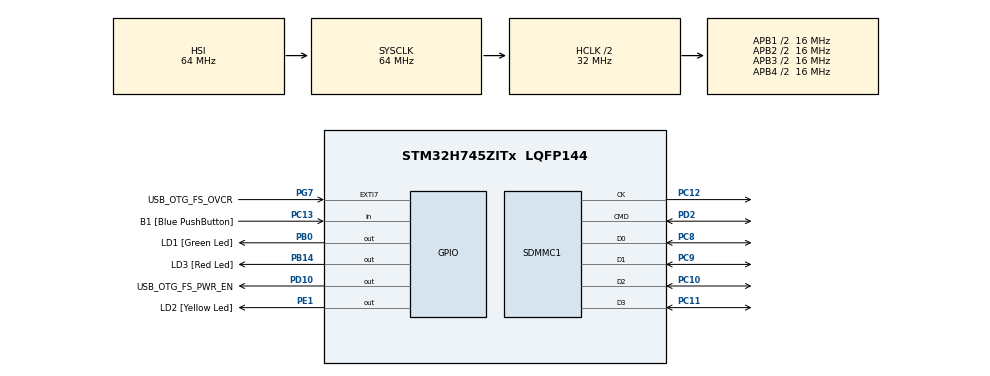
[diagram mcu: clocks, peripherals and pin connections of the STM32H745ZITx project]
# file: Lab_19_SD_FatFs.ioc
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CortexM4.IPs=FATFS_M4\:I,FREERTOS_M4\:I,IWDG2\:I,RCC,WWDG2\:I,DMA,BDMA,MDMA,NVIC2\:I,USART3,ETH,DEBUG,PDM2PCM_M4\:I,PWR,RESMGR_UTILITY,SYS_M4\:I,USB_DEVICE_M4\:I,USB_HOST_M4\:I,CORTEX_M4\:I,GPIO,OPENAMP_M4\:I,VREFBUF
CortexM7.IPs=FATFS_M7\:I,FREERTOS_M7\:I,IWDG1\:I,RCC\:I,WWDG1\:I,DMA\:I,BDMA\:I,MDMA\:I,NVIC1\:I,SYS\:I,USART3\:I,USB_OTG_FS\:I,ETH\:I,CORTEX_M7\:I,DEBUG\:I,PDM2PCM_M7\:I,PWR\:I,RESMGR_UTILITY\:I,USB_DEVICE_M7\:I,USB_HOST_M7\:I,GPIO\:I,OPENAMP_M7\:I,VREFBUF\:I,SDMMC1\:I
CortexM7.Pins=PB0,PB14,PE1
Mcu.Family=STM32H7
Mcu.Name=STM32H745ZITx
Mcu.Package=LQFP144
NVIC1.PriorityGroup=NVIC_PRIORITYGROUP_4
NVIC2.PriorityGroup=NVIC_PRIORITYGROUP_4
PA1.PinAttribute=CortexM7
PA1.Signal=ETH_REF_CLK
PA11.PinAttribute=CortexM7
PA11.Signal=USB_OTG_FS_DM
PA12.PinAttribute=CortexM7
PA12.Signal=USB_OTG_FS_DP
PA2.PinAttribute=CortexM7
PA2.Signal=ETH_MDIO
PA7.PinAttribute=CortexM7
PA7.Signal=ETH_CRS_DV
PA8.PinAttribute=CortexM7
PA8.Signal=USB_OTG_FS_SOF
PA9.PinAttribute=CortexM7
PA9.Signal=USB_OTG_FS_VBUS
PB0.GPIO_Label=LD1 [Green Led]
PB0.PinAttribute=CortexM7
PB0.Signal=GPIO_Output
PB13.PinAttribute=CortexM7
PB13.Signal=ETH_TXD1
PB14.GPIO_Label=LD3 [Red Led]
PB14.PinAttribute=CortexM7
PB14.Signal=GPIO_Output
PC1.PinAttribute=CortexM7
PC1.Signal=ETH_MDC
PC10.Mode=SD_4_bits_Wide_bus
PC10.PinAttribute=CortexM7
PC10.Signal=SDMMC1_D2
PC11.Mode=SD_4_bits_Wide_bus
PC11.PinAttribute=CortexM7
PC11.Signal=SDMMC1_D3
PC12.Mode=SD_4_bits_Wide_bus
PC12.PinAttribute=CortexM7
PC12.Signal=SDMMC1_CK
PC13.GPIO_Label=B1 [Blue PushButton]
PC13.PinAttribute=Free
PC13.Signal=GPIO_Input
PC14-OSC32_IN\ (OSC32_IN).PinAttribute=CortexM7
PC14-OSC32_IN\ (OSC32_IN).Signal=RCC_OSC32_IN
PC15-OSC32_OUT\ (OSC32_OUT).PinAttribute=CortexM7
PC15-OSC32_OUT\ (OSC32_OUT).Signal=RCC_OSC32_OUT
PC4.PinAttribute=CortexM7
PC4.Signal=ETH_RXD0
PC5.PinAttribute=CortexM7
PC5.Signal=ETH_RXD1
PC8.Mode=SD_4_bits_Wide_bus
PC8.PinAttribute=CortexM7
PC8.Signal=SDMMC1_D0
PC9.Mode=SD_4_bits_Wide_bus
PC9.PinAttribute=CortexM7
PC9.Signal=SDMMC1_D1
PD10.GPIO_Label=USB_OTG_FS_PWR_EN
PD10.PinAttribute=Free
PD10.Signal=GPIO_Output
PD2.Mode=SD_4_bits_Wide_bus
PD2.PinAttribute=CortexM7
PD2.Signal=SDMMC1_CMD
PD8.GPIO_Label=STLINK_RX
PD8.PinAttribute=CortexM7
PD8.Signal=USART3_TX
PD9.GPIO_Label=STLINK_TX
PD9.PinAttribute=CortexM7
PD9.Signal=USART3_RX
PE1.GPIO_Label=LD2 [Yellow Led]
PE1.PinAttribute=CortexM7
PE1.Signal=GPIO_Output
PG11.PinAttribute=CortexM7
PG11.Signal=ETH_TX_EN
PG13.PinAttribute=CortexM7
PG13.Signal=ETH_TXD0
PG7.GPIO_Label=USB_OTG_FS_OVCR
PG7.PinAttribute=Free
PG7.Signal=GPXTI7
PH0-OSC_IN\ (PH0).Mode=HSE-External-Clock-Source
PH0-OSC_IN\ (PH0).PinAttribute=CortexM7
PH0-OSC_IN\ (PH0).Signal=RCC_OSC_IN
PH1-OSC_OUT\ (PH1).PinAttribute=CortexM7
PH1-OSC_OUT\ (PH1).Signal=RCC_OSC_OUT
ProjectManager.HeapSize=M4-0x200,M7-0x400
ProjectManager.StackSize=M4-0x400,M7-0x800
ProjectManager.TargetToolchain=STM32CubeIDE
RCC.ADCFreq_Value=100000000
RCC.APB1Freq_Value=16000000
RCC.APB2Freq_Value=16000000
RCC.APB3Freq_Value=16000000
RCC.APB4Freq_Value=16000000
RCC.CortexFreq_Value=64000000
RCC.D1PPRE=RCC_APB3_DIV2
RCC.D2PPRE1=RCC_APB1_DIV2
RCC.D2PPRE2=RCC_APB2_DIV2
RCC.D3PPRE=RCC_APB4_DIV2
RCC.DIVM1=4
RCC.DIVM2=4
RCC.DIVM3=22
RCC.DIVN1=400
RCC.DIVN2=100
RCC.DIVN3=169
RCC.DIVQ1=4
RCC.DIVQ3=4
RCC.DIVR2=16
RCC.HCLKFreq_Value=32000000
RCC.HPRE=RCC_HCLK_DIV2
RCC.HSE_VALUE=8000000
RCC.PLL2FRACN=0
RCC.PLL3FRACN=0
RCC.PLLFRACN=0
RCC.PLLSourceVirtual=RCC_PLLSOURCE_HSE
RCC.SDMMC1CLockSelection=RCC_SDMMCCLKSOURCE_PLL2
RCC.SYSCLKFreq_VALUE=64000000
RCC.SupplySource=PWR_DIRECT_SMPS_SUPPLY
RCC.USBCLockSelection=RCC_USBCLKSOURCE_PLL3
RCC.USBFreq_Value=15363636.363636363
SDMMC1.ClockDiv=5
VP_FATFS_M7_VS_SDIO.Mode=SDIO
VP_SYS_M4_VS_Systick.Mode=SysTick
board=NUCLEO-H745ZI-Q

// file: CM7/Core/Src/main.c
/* USER CODE BEGIN Header */
/**
  ******************************************************************************
  * @file           : main.c
  * @brief          : Main program body
  ******************************************************************************
  * @attention
  *
  * Copyright (c) 2023 STMicroelectronics.
  * All rights reserved.
  *
  * This software is licensed under terms that can be found in the LICENSE file
  * in the root directory of this software component.
  * If no LICENSE file comes with this software, it is provided AS-IS.
  *
  ******************************************************************************
  */
/* USER CODE END Header */
#include "main.h"
#include "fatfs.h"

/* USER CODE BEGIN PD */

#ifndef HSEM_ID_0
#define HSEM_ID_0 (0U) /* HW semaphore 0*/
#endif
/* USER CODE END PD */

/* USER CODE BEGIN PM */
//#define FORMAT_CARD
/* USER CODE END PM */

SD_HandleTypeDef hsd1;

/* USER CODE BEGIN PV */
FIL MyFile;  /* File object */

#ifdef FORMAT_CARD
uint8_t workBuffer[_MAX_SS];
#endif
/* USER CODE END PV */

void SystemClock_Config(void);
static void MX_GPIO_Init(void);
static void MX_SDMMC1_SD_Init(void);
/* USER CODE BEGIN PFP */
//static void FS_FileOperations(void);
/* USER CODE END PFP */

/* USER CODE BEGIN 0 */
typedef struct {
	uint8_t state;

	GPIO_TypeDef* ports[3];
	uint16_t pins[3];
} StateMachine;

StateMachine state_machine_init(uint8_t state) {
	StateMachine state_machine;
	state_machine.state = state;

	state_machine.ports[0] = LD1_GPIO_Port;
	state_machine.ports[1] = LD2_GPIO_Port;
	state_machine.ports[2] = LD3_GPIO_Port;

	state_machine.pins[0] = LD1_Pin;
	state_machine.pins[1] = LD2_Pin;
	state_machine.pins[2] = LD3_Pin;

	for (uint8_t state = 0; state < 3; state++) {
		HAL_GPIO_WritePin(state_machine.ports[state], state_machine.pins[state], GPIO_PIN_RESET);
	}

	HAL_GPIO_WritePin(state_machine.ports[state_machine.state], state_machine.pins[state_machine.state], GPIO_PIN_SET);

	return state_machine;
}

uint8_t shift(StateMachine* state_machine) {
	uint8_t curr_state = state_machine->state;
	HAL_GPIO_WritePin(state_machine->ports[curr_state], state_machine->pins[curr_state], GPIO_PIN_RESET);
	if (curr_state == 2) {
		state_machine->state = 0;
	}
	else {
		state_machine->state++;
	}
	curr_state = state_machine->state;
	HAL_GPIO_WritePin(state_machine->ports[curr_state], state_machine->pins[curr_state], GPIO_PIN_SET);
	return curr_state;
}

/* USER CODE END 0 */

int main(void)
{
/* USER CODE BEGIN Boot_Mode_Sequence_0 */
  int32_t timeout;
/* USER CODE END Boot_Mode_Sequence_0 */

/* USER CODE BEGIN Boot_Mode_Sequence_1 */
  /* Wait until CPU2 boots and enters in stop mode or timeout*/
  timeout = 0xFFFF;
  while((__HAL_RCC_GET_FLAG(RCC_FLAG_D2CKRDY) != RESET) && (timeout-- > 0));
  if ( timeout < 0 )
  {
  Error_Handler();
  }
/* USER CODE END Boot_Mode_Sequence_1 */
  /* MCU Configuration--------------------------------------------------------*/

  /* Reset of all peripherals, Initializes the Flash interface and the Systick. */
  HAL_Init();

  /* Configure the system clock */
  SystemClock_Config();
/* USER CODE BEGIN Boot_Mode_Sequence_2 */
/* When system initialization is finished, Cortex-M7 will release Cortex-M4 by means of
HSEM notification */
/*HW semaphore Clock enable*/
__HAL_RCC_HSEM_CLK_ENABLE();
/*Take HSEM */
HAL_HSEM_FastTake(HSEM_ID_0);
/*Release HSEM in order to notify the CPU2(CM4)*/
HAL_HSEM_Release(HSEM_ID_0,0);
/* wait until CPU2 wakes up from stop mode */
timeout = 0xFFFF;
while((__HAL_RCC_GET_FLAG(RCC_FLAG_D2CKRDY) == RESET) && (timeout-- > 0));
if ( timeout < 0 )
{
Error_Handler();
}
/* USER CODE END Boot_Mode_Sequence_2 */

  /* Initialize all configured peripherals */
  MX_GPIO_Init();
  MX_SDMMC1_SD_Init();
  MX_FATFS_Init();
  /* USER CODE BEGIN 2 */

  #ifdef FORMAT_CARD
  /* Create a FAT file system (format) on the uSD drive */
  FRESULT res;
  res = f_mkfs(SDPath, FM_ANY, 0, workBuffer, sizeof(workBuffer));
  if (res != FR_OK)
  {
    Error_Handler();
  }
  #endif

//  FS_FileOperations();

  	  __HAL_RCC_GPIOC_CLK_ENABLE();

      GPIO_InitTypeDef  gpio_init_structure_button;

      gpio_init_structure_button.Pin = GPIO_PIN_13;
      gpio_init_structure_button.Mode = GPIO_MODE_INPUT;
      gpio_init_structure_button.Pull = GPIO_PULLDOWN;
      gpio_init_structure_button.Speed = GPIO_SPEED_FREQ_HIGH;

      HAL_GPIO_Init(GPIOC, &gpio_init_structure_button);

      GPIO_PinState prev_state = GPIO_PIN_RESET; // Previous button state
      GPIO_PinState curr_state = GPIO_PIN_RESET; // Current button state

  if(f_mount(&SDFatFS, (TCHAR const*)SDPath, 0) != FR_OK) {
	  Error_Handler();
  }

  FRESULT sd_res;
  uint32_t byteswritten, bytesread;
  uint8_t wtext[] = {0};
  uint8_t rtext[] = {0};

  if (f_open(&MyFile, "STM32.TXT", FA_READ) != FR_OK) {
	  Error_Handler();
  }

  sd_res = f_read(&MyFile, rtext, sizeof(rtext), (void *)&bytesread);

  if((bytesread == 0) && (sd_res != FR_OK)) {
	  Error_Handler();
  }

  f_close(&MyFile);

  StateMachine state_machine = state_machine_init(rtext[0]);

  /* USER CODE END 2 */

  /* Infinite loop */
  while (1)
  {
  curr_state = HAL_GPIO_ReadPin(GPIOC, GPIO_PIN_13);
  if (curr_state == GPIO_PIN_SET && prev_state == GPIO_PIN_RESET) {
		wtext[0] = shift(&state_machine);
		if(f_open(&MyFile, "STM32.TXT", FA_CREATE_ALWAYS | FA_WRITE) != FR_OK) {
		  Error_Handler();
		}
		sd_res = f_write(&MyFile, wtext, sizeof(wtext), (void *)&byteswritten);
		if((byteswritten == 0) || (sd_res != FR_OK)) {
		    Error_Handler();
	    }
		f_close(&MyFile);
  }
  prev_state = curr_state;

  }
}

void SystemClock_Config(void)
{
  RCC_OscInitTypeDef RCC_OscInitStruct = {0};
  RCC_ClkInitTypeDef RCC_ClkInitStruct = {0};

  /** Supply configuration update enable
  */
  HAL_PWREx_ConfigSupply(PWR_DIRECT_SMPS_SUPPLY);

  /** Configure the main internal regulator output voltage
  */
  __HAL_PWR_VOLTAGESCALING_CONFIG(PWR_REGULATOR_VOLTAGE_SCALE3);

  while(!__HAL_PWR_GET_FLAG(PWR_FLAG_VOSRDY)) {}

  /** Macro to configure the PLL clock source
  */
  __HAL_RCC_PLL_PLLSOURCE_CONFIG(RCC_PLLSOURCE_HSE);

  /** Initializes the RCC Oscillators according to the specified parameters
  * in the RCC_OscInitTypeDef structure.
  */
  RCC_OscInitStruct.OscillatorType = RCC_OSCILLATORTYPE_HSI|RCC_OSCILLATORTYPE_HSE;
  RCC_OscInitStruct.HSEState = RCC_HSE_BYPASS;
  RCC_OscInitStruct.HSIState = RCC_HSI_DIV1;
  RCC_OscInitStruct.HSICalibrationValue = RCC_HSICALIBRATION_DEFAULT;
  RCC_OscInitStruct.PLL.PLLState = RCC_PLL_NONE;
  RCC_OscInitStruct.PLL.PLLSource = RCC_PLLSOURCE_HSE;
  if (HAL_RCC_OscConfig(&RCC_OscInitStruct) != HAL_OK)
  {
    Error_Handler();
  }

  /** Initializes the CPU, AHB and APB buses clocks
  */
  RCC_ClkInitStruct.ClockType = RCC_CLOCKTYPE_HCLK|RCC_CLOCKTYPE_SYSCLK
                              |RCC_CLOCKTYPE_PCLK1|RCC_CLOCKTYPE_PCLK2
                              |RCC_CLOCKTYPE_D3PCLK1|RCC_CLOCKTYPE_D1PCLK1;
  RCC_ClkInitStruct.SYSCLKSource = RCC_SYSCLKSOURCE_HSI;
  RCC_ClkInitStruct.SYSCLKDivider = RCC_SYSCLK_DIV1;
  RCC_ClkInitStruct.AHBCLKDivider = RCC_HCLK_DIV2;
  RCC_ClkInitStruct.APB3CLKDivider = RCC_APB3_DIV2;
  RCC_ClkInitStruct.APB1CLKDivider = RCC_APB1_DIV2;
  RCC_ClkInitStruct.APB2CLKDivider = RCC_APB2_DIV2;
  RCC_ClkInitStruct.APB4CLKDivider = RCC_APB4_DIV2;

  if (HAL_RCC_ClockConfig(&RCC_ClkInitStruct, FLASH_LATENCY_0) != HAL_OK)
  {
    Error_Handler();
  }
}

static void MX_SDMMC1_SD_Init(void)
{

  hsd1.Instance = SDMMC1;
  hsd1.Init.ClockEdge = SDMMC_CLOCK_EDGE_RISING;
  hsd1.Init.ClockPowerSave = SDMMC_CLOCK_POWER_SAVE_DISABLE;
  hsd1.Init.BusWide = SDMMC_BUS_WIDE_4B;
  hsd1.Init.HardwareFlowControl = SDMMC_HARDWARE_FLOW_CONTROL_DISABLE;
  hsd1.Init.ClockDiv = 5;
  if (HAL_SD_Init(&hsd1) != HAL_OK)
  {
    Error_Handler();
  }

}

static void MX_GPIO_Init(void)
{
  GPIO_InitTypeDef GPIO_InitStruct = {0};

  /* GPIO Ports Clock Enable */
  __HAL_RCC_GPIOC_CLK_ENABLE();
  __HAL_RCC_GPIOH_CLK_ENABLE();
  __HAL_RCC_GPIOA_CLK_ENABLE();
  __HAL_RCC_GPIOB_CLK_ENABLE();
  __HAL_RCC_GPIOD_CLK_ENABLE();
  __HAL_RCC_GPIOG_CLK_ENABLE();
  __HAL_RCC_GPIOE_CLK_ENABLE();

  /*Configure GPIO pin Output Level */
  HAL_GPIO_WritePin(GPIOB, LD1_Pin|LD3_Pin, GPIO_PIN_RESET);

  /*Configure GPIO pin Output Level */
  HAL_GPIO_WritePin(LD2_GPIO_Port, LD2_Pin, GPIO_PIN_RESET);

  /*Configure GPIO pins : PC1 PC4 PC5 */
  GPIO_InitStruct.Pin = GPIO_PIN_1|GPIO_PIN_4|GPIO_PIN_5;
  GPIO_InitStruct.Mode = GPIO_MODE_AF_PP;
  GPIO_InitStruct.Pull = GPIO_NOPULL;
  GPIO_InitStruct.Speed = GPIO_SPEED_FREQ_LOW;
  GPIO_InitStruct.Alternate = GPIO_AF11_ETH;
  HAL_GPIO_Init(GPIOC, &GPIO_InitStruct);

  /*Configure GPIO pins : PA1 PA2 PA7 */
  GPIO_InitStruct.Pin = GPIO_PIN_1|GPIO_PIN_2|GPIO_PIN_7;
  GPIO_InitStruct.Mode = GPIO_MODE_AF_PP;
  GPIO_InitStruct.Pull = GPIO_NOPULL;
  GPIO_InitStruct.Speed = GPIO_SPEED_FREQ_LOW;
  GPIO_InitStruct.Alternate = GPIO_AF11_ETH;
  HAL_GPIO_Init(GPIOA, &GPIO_InitStruct);

  /*Configure GPIO pins : LD1_Pin LD3_Pin */
  GPIO_InitStruct.Pin = LD1_Pin|LD3_Pin;
  GPIO_InitStruct.Mode = GPIO_MODE_OUTPUT_PP;
  GPIO_InitStruct.Pull = GPIO_NOPULL;
  GPIO_InitStruct.Speed = GPIO_SPEED_FREQ_LOW;
  HAL_GPIO_Init(GPIOB, &GPIO_InitStruct);

  /*Configure GPIO pin : PB13 */
  GPIO_InitStruct.Pin = GPIO_PIN_13;
  GPIO_InitStruct.Mode = GPIO_MODE_AF_PP;
  GPIO_InitStruct.Pull = GPIO_NOPULL;
  GPIO_InitStruct.Speed = GPIO_SPEED_FREQ_LOW;
  GPIO_InitStruct.Alternate = GPIO_AF11_ETH;
  HAL_GPIO_Init(GPIOB, &GPIO_InitStruct);

  /*Configure GPIO pins : PD8 PD9 */
  GPIO_InitStruct.Pin = GPIO_PIN_8|GPIO_PIN_9;
  GPIO_InitStruct.Mode = GPIO_MODE_AF_PP;
  GPIO_InitStruct.Pull = GPIO_NOPULL;
  GPIO_InitStruct.Speed = GPIO_SPEED_FREQ_LOW;
  GPIO_InitStruct.Alternate = GPIO_AF7_USART3;
  HAL_GPIO_Init(GPIOD, &GPIO_InitStruct);

  /*Configure GPIO pins : PA8 PA11 PA12 */
  GPIO_InitStruct.Pin = GPIO_PIN_8|GPIO_PIN_11|GPIO_PIN_12;
  GPIO_InitStruct.Mode = GPIO_MODE_AF_PP;
  GPIO_InitStruct.Pull = GPIO_NOPULL;
  GPIO_InitStruct.Speed = GPIO_SPEED_FREQ_LOW;
  GPIO_InitStruct.Alternate = GPIO_AF10_OTG1_FS;
  HAL_GPIO_Init(GPIOA, &GPIO_InitStruct);

  /*Configure GPIO pins : PG11 PG13 */
  GPIO_InitStruct.Pin = GPIO_PIN_11|GPIO_PIN_13;
  GPIO_InitStruct.Mode = GPIO_MODE_AF_PP;
  GPIO_InitStruct.Pull = GPIO_NOPULL;
  GPIO_InitStruct.Speed = GPIO_SPEED_FREQ_LOW;
  GPIO_InitStruct.Alternate = GPIO_AF11_ETH;
  HAL_GPIO_Init(GPIOG, &GPIO_InitStruct);

  /*Configure GPIO pin : LD2_Pin */
  GPIO_InitStruct.Pin = LD2_Pin;
  GPIO_InitStruct.Mode = GPIO_MODE_OUTPUT_PP;
  GPIO_InitStruct.Pull = GPIO_NOPULL;
  GPIO_InitStruct.Speed = GPIO_SPEED_FREQ_LOW;
  HAL_GPIO_Init(LD2_GPIO_Port, &GPIO_InitStruct);

}

/* USER CODE BEGIN 4 */
//static void FS_FileOperations(void)
//{
//  FRESULT res;                                          /* FatFs function common result code */
//  uint32_t byteswritten, bytesread;                     /* File write/read counts */
//  uint8_t wtext[] = "This is STM32 working with FatFs + uSD"; /* File write buffer */
//  uint8_t rtext[100];                                   /* File read buffer */
//
//  /* Register the file system object to the FatFs module */
//  if(f_mount(&SDFatFS, (TCHAR const*)SDPath, 0) == FR_OK)
//  {
//    /* Create and Open a new text file object with write access */
//    if(f_open(&MyFile, "STM32.TXT", FA_CREATE_ALWAYS | FA_WRITE) == FR_OK)
//    {
//      /* Write data to the text file */
//      res = f_write(&MyFile, wtext, sizeof(wtext), (void *)&byteswritten);
//
//      if((byteswritten > 0) && (res == FR_OK))
//      {
//        /* Close the open text file */
//        f_close(&MyFile);
//
//        /* Open the text file object with read access */
//        if(f_open(&MyFile, "STM32.TXT", FA_READ) == FR_OK)
//        {
//          /* Read data from the text file */
//          res = f_read(&MyFile, rtext, sizeof(rtext), (void *)&bytesread);
//
//          if((bytesread > 0) && (res == FR_OK))
//          {
//            /* Close the open text file */
//            f_close(&MyFile);
//
//            /* Compare read data with the expected data */
//            if((bytesread == byteswritten))
//            {
//              /* Success of the demo: no error occurrence */
//              HAL_GPIO_WritePin(LD1_GPIO_Port, LD1_Pin, GPIO_PIN_SET);
//              return;
//            }
//          }
//        }
//      }
//    }
//  }
//  /* Error */
//  Error_Handler();
//}
/* USER CODE END 4 */

void Error_Handler(void)
{
  /* USER CODE BEGIN Error_Handler_Debug */

  /* Turn LED3 on */
  HAL_GPIO_WritePin(LD3_GPIO_Port, LD3_Pin, GPIO_PIN_SET);

  /* User can add his own implementation to report the HAL error return state */
  __disable_irq();
  while (1)
  {
  }
  /* USER CODE END Error_Handler_Debug */
}
